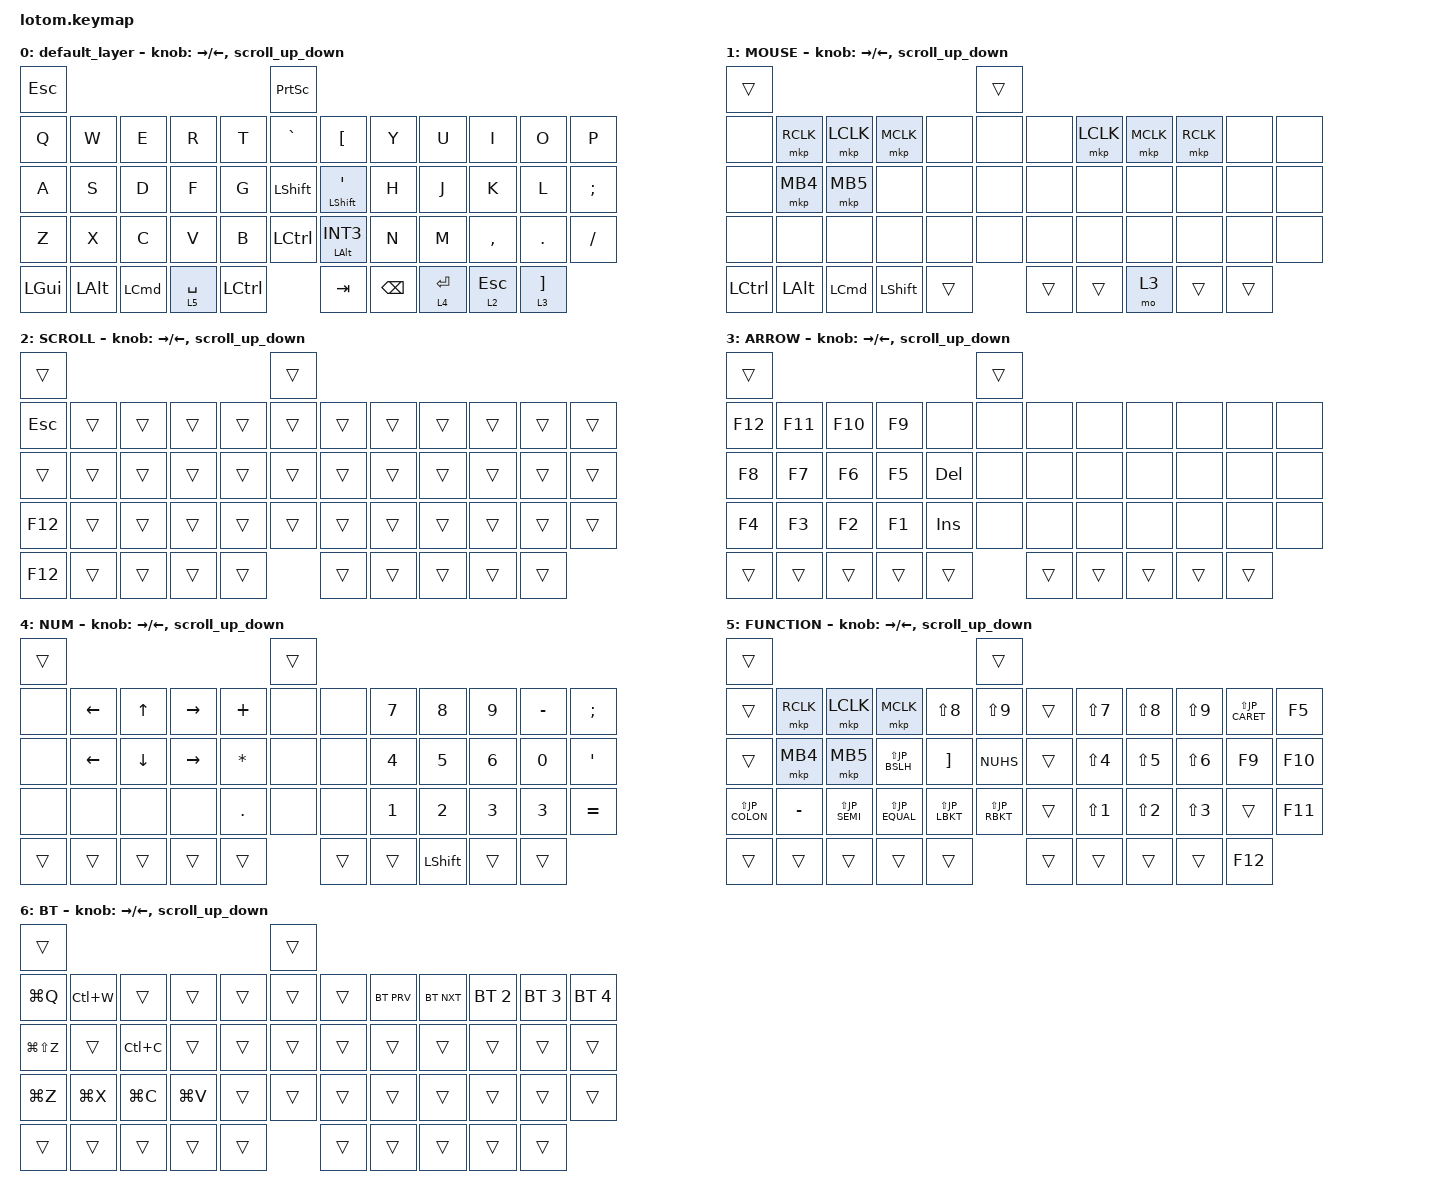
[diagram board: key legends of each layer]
#include <behaviors.dtsi>
#include <dt-bindings/zmk/bt.h>
#include <dt-bindings/zmk/keys.h>
#include <dt-bindings/zmk/pointing.h>

/* JIS Key Aliases */
#define JP_ZKHK  GRAVE
#define JP_MINUS MINUS
#define JP_CARET EQUAL
#define JP_YEN   INT3
#define JP_AT    LBKT
#define JP_LBKT  RBKT
#define JP_EISU  CAPS
#define JP_SEMI  SEMI
#define JP_COLON SQT
#define JP_RBKT  NUHS
#define JP_COMMA COMMA
#define JP_DOT   DOT
#define JP_SLASH SLASH
#define JP_BSLH  INT1
#define JP_MHEN  INT5
#define JP_HENK  INT4
#define JP_KANA  INT2
#define JP_EXCL  LS(N1)
#define JP_DQT   LS(N2)
#define JP_HASH  LS(N3)
#define JP_DLLR  LS(N4)
#define JP_PRCNT LS(N5)
#define JP_AMPS  LS(N6)
#define JP_SQT   LS(N7)
#define JP_LPAR  LS(N8)
#define JP_RPAR  LS(N9)
#define JP_EQUAL LS(JP_MINUS)
#define JP_TILDE LS(JP_CARET)
#define JP_PIPE  LS(JP_YEN)
#define JP_GRAVE LS(JP_AT)
#define JP_LBRC  LS(JP_LBKT)
#define JP_CAPS  LS(JP_EISU)
#define JP_PLUS  LS(JP_SEMI)
#define JP_ASTRK LS(JP_COLON)
#define JP_RBRC  LS(JP_RBKT)
#define JP_LT    LS(JP_COMMA)
#define JP_RT    LS(JP_DOT)
#define JP_QMARK LS(JP_SLASH)
#define JP_UNDER LS(JP_BSLH)
#define JP_EQUA  LS(JP_EQUAL)

#define ZMK_POINTING_DEFAULT_SCRL_VAL 140

/ {
    behaviors {
      scroll_up_down: behavior_sensor_rotate_mouse_wheel_up_down {
          compatible = "zmk,behavior-sensor-rotate";
          label = "ENCODER_MSC_DOWN_UP";
          #sensor-binding-cells = <0>;
          bindings = <&msc SCRL_DOWN>, <&msc SCRL_UP>;
          tap-ms = <20>;
      };

      tab_slide: behavior_sensor_rotate_tab_slide {
          compatible = "zmk,behavior-sensor-rotate";
          label = "ENCODER_TAB_SLIDE";
          #sensor-binding-cells = <0>;
          //bindings = <&kp LA(LG(RIGHT_ARROW))>, <&kp LA(LG(LEFT_ARROW))>;
          bindings = <&msc SCRL_RIGHT>, <&msc SCRL_LEFT>;
          tap-ms = <20>;
      };
    };

    keymap {
        compatible = "zmk,keymap";

        default_layer {
            bindings = <
&kp ESCAPE                                                                &kp PSCRN
&kp Q      &kp W         &kp E             &kp R           &kp T        &kp JP_ZKHK             &kp JP_AT            &kp Y            &kp U     &kp I        &kp O         &kp P
&kp A      &kp S         &kp D             &kp F           &kp G        &kp LSHIFT              &mt LSHIFT JP_COLON  &kp H            &kp J     &kp K        &kp L         &kp SEMI
&kp Z      &kp X         &kp C             &kp V           &kp B        &kp LCTRL               &mt LALT JP_YEN      &kp N            &kp M     &kp COMMA    &kp DOT       &kp SLASH
&kp LGUI   &kp LEFT_ALT  &kp LEFT_COMMAND  &lt 5 SPACE     &kp LCTRL  &kp TAB                 &kp BSPC             &lt 4 RET                         &lt 2 ESCAPE  &lt 3 RIGHT_BRACKET
            >;

            sensor-bindings = <
                &inc_dec_kp RIGHT_ARROW LEFT_ARROW
                &scroll_up_down
            >;
        };

        MOUSE {
            bindings = <
&trans                                                                                                                         &trans
&none      &mkp RCLK         &mkp LCLK       &mkp MCLK  &none      &none        &none  &mkp LCLK &mkp MCLK &mkp RCLK &none         &none
&none      &mkp MB4          &mkp MB5        &none      &none      &none        &none  &none     &none     &none     &none         &none
&none      &none             &none           &none      &none      &none        &none  &none     &none     &none     &none         &none
&kp LCTRL  &kp LEFT_ALT  &kp LEFT_COMMAND  &kp LEFT_SHIFT  &trans     &trans      &trans  &mo 3                       &trans      &trans
            >;

            sensor-bindings = <
                &inc_dec_kp RIGHT_ARROW LEFT_ARROW
                &scroll_up_down
            >;
        };

        SCROLL {
            bindings = <
&trans                                                                                          &trans
&kp ESCAPE  &trans  &trans  &trans  &trans  &trans      &trans  &trans  &trans  &trans  &trans  &trans
&trans      &trans  &trans  &trans  &trans  &trans      &trans  &trans  &trans  &trans  &trans  &trans
&kp F12     &trans  &trans  &trans  &trans  &trans      &trans  &trans  &trans  &trans  &trans  &trans
&kp F12     &trans  &trans  &trans  &trans  &trans      &trans  &trans                  &trans  &trans
            >;

            sensor-bindings = <
                &inc_dec_kp RIGHT_ARROW LEFT_ARROW
                &scroll_up_down
            >;
        };

        ARROW {
            bindings = <
&trans                                                                                          &trans
&kp F12       &kp F11          &kp F10              &kp F9             &none        &none                   &none                &none            &none     &none        &none         &none
&kp F8        &kp F7           &kp F6               &kp F5             &kp DEL      &none                   &none                &none            &none     &none        &none         &none
&kp F4        &kp F3           &kp F2               &kp F1             &kp INS      &none                   &none                &none            &none     &none        &none         &none
&trans     &trans        &trans            &trans          &trans       &trans                  &trans               &trans                                         &trans        &trans
            >;

            sensor-bindings = <
                &inc_dec_kp RIGHT_ARROW LEFT_ARROW
                &scroll_up_down
            >;
        };

        /*
        NUM {
            bindings = <
    &trans                                                                                                                                                                  &trans
    &kp GRAVE                &kp NUMBER_7  &kp NUMBER_8  &kp LG(LS(NUMBER_4))  &kp PLUS      &trans      &trans  &kp BACKSLASH    &kp NUMBER_7  &kp NUMBER_8  &kp NUMBER_9  &kp SEMICOLON
    &kp SLASH                &kp NUMBER_4  &kp NUMBER_5  &kp NUMBER_6          &kp ASTERISK  &trans      &trans  &kp EXCLAMATION  &kp NUMBER_4  &kp NUMBER_5  &kp NUMBER_6  &kp SQT
    &mt LEFT_SHIFT NUMBER_0  &kp NUMBER_1  &kp NUMBER_2  &kp NUMBER_3          &kp PERIOD    &trans      &trans  &kp NUMBER_0     &kp NUMBER_1  &kp NUMBER_2  &kp NUMBER_3  &kp EQUAL
    &trans                   &trans        &trans        &trans                &trans        &trans      &trans  &kp LEFT_SHIFT                               &trans        &trans
            >;

            sensor-bindings = <
            &inc_dec_kp RIGHT_ARROW LEFT_ARROW
            &scroll_up_down
            >;
        };
        */
        NUM {
            bindings = <
&trans                                                                                                                                                                  &trans
&none      &kp LEFT  &kp UP    &kp RIGHT     &kp PLUS      &none      &none  &kp N7   &kp N8  &kp N9  &kp JP_MINUS  &kp SEMICOLON
&none      &kp LEFT  &kp DOWN  &kp RIGHT     &kp ASTERISK  &none      &none  &kp N4   &kp N5  &kp N6  &kp N0        &kp SQT
&none      &none     &none     &none         &kp PERIOD    &none      &none  &kp N1   &kp N2  &kp N3  &kp NUMBER_3  &kp EQUAL
&trans                   &trans        &trans        &trans                &trans        &trans      &trans  &kp LEFT_SHIFT                               &trans        &trans
            >;

            sensor-bindings = <
                &inc_dec_kp RIGHT_ARROW LEFT_ARROW
                &scroll_up_down
            >;
        };

        FUNCTION {
            bindings = <
&trans                                                                                       &trans
&trans        &mkp RCLK     &mkp LCLK     &mkp MCLK     &kp JP_LPAR  &kp JP_RPAR    &trans  &kp JP_SQT   &kp JP_LPAR   &kp JP_RPAR  &kp JP_TILDE  &kp F5
&trans        &mkp MB4      &mkp MB5      &kp JP_UNDER  &kp JP_LBKT  &kp JP_RBKT    &trans  &kp JP_DLLR  &kp JP_PRCNT  &kp JP_AMPS  &kp F9  &kp F10
&kp JP_ASTRK  &kp JP_MINUS  &kp JP_PLUS   &kp JP_EQUA   &kp JP_LBRC  &kp JP_RBRC    &trans  &kp JP_EXCL  &kp JP_DQT    &kp JP_HASH  &trans  &kp F11
&trans  &trans        &trans        &trans        &trans        &trans           &trans       &trans                             &trans  &kp F12
            >;

            sensor-bindings = <
                &inc_dec_kp RIGHT_ARROW LEFT_ARROW
                &scroll_up_down
            >;
        };

        BT {
            bindings = <
&trans                                                                                                                                      &trans
&kp LG(Q)      &kp LC(W)  &trans     &trans     &trans  &trans      &trans  &bt BT_PRV  &bt BT_NXT  &bt BT_SEL 2  &bt BT_SEL 3  &bt BT_SEL 4
&kp LG(LS(Z))  &trans     &kp LC(C)  &trans     &trans  &trans      &trans  &trans      &trans      &trans        &trans        &trans
&kp LG(Z)      &kp LG(X)  &kp LG(C)  &kp LG(V)  &trans  &trans      &trans  &trans      &trans      &trans        &trans        &trans
&trans         &trans     &trans     &trans     &trans  &trans      &trans  &trans                                &trans        &trans
            >;

            sensor-bindings = <
                &inc_dec_kp RIGHT_ARROW LEFT_ARROW
                &scroll_up_down
            >;
        };
    };
};
